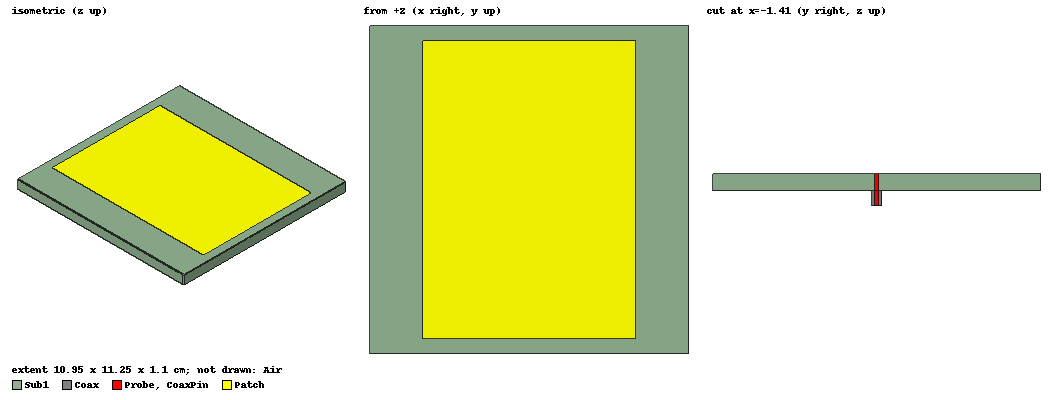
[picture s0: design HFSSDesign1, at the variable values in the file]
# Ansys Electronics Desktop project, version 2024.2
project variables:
  $Patch_Length = 0.07299977meter
  $Patch_Width = 0.10247068meter
  $Substrate_Length = 0.109494912meter
  $Substrate_Width = 0.11246602meter
  $Substrate_Thickness = 0.006meter
  $X_Offset = 0.022395418meter
  $Antenna_Offset = -2.8in
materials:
  vacuum: permittivity=1
  Rogers RT/duroid 5880 (tm): permittivity=2.2 dielectric_loss_tangent=0.0009
  polyethylene: permittivity=2.25 dielectric_loss_tangent=0.001
  pec: conductivity=1e+30
  air: permittivity=1.0006 permeability=1.0000004
  Rogers TMM 4 (tm): permittivity=4.5 dielectric_loss_tangent=0.002
  FR4_epoxy: permittivity=4.4 dielectric_loss_tangent=0.02
  water_sea: permittivity=81 permeability=0.999991 conductivity=4
  aluminum: permeability=1.000021 conductivity=38000000

design HFSSDesign1 (HFSS, HFSS Terminal Network, model units cm)
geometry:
  Sub1 [Rogers TMM 4 (tm)] = box(corner=(-($Substrate_Length/2), -($Substrate_Width/2), 0cm), size=($Substrate_Length, $Substrate_Width, $Substrate_Thickness))
  Inf_GND [Rogers RT/duroid 5880 (tm)] = object_from(Sub1.face(-z))
  Cutout = circle(normal=Z, centre=(-($Patch_Length/2-$X_Offset), 0cm, 0cm), radius=0.16cm)
  Inf_GND.subtract(Cutout)
  Patch = rectangle(corner=(-($Patch_Length/2), -($Patch_Width/2), $Substrate_Thickness), x_size=$Patch_Length, y_size=$Patch_Width)
  Coax [polyethylene] = cylinder(axis=Z, base_centre=(-($Patch_Length/2-$X_Offset), 0cm, 0cm), radius=0.16cm, height=-0.5cm)
  CoaxPin [pec] = cylinder(axis=Z, base_centre=(-($Patch_Length/2-$X_Offset), 0cm, 0cm), radius=0.07cm, height=-0.5cm)
  Probe [pec] = cylinder(axis=Z, base_centre=(-($Patch_Length/2-$X_Offset), 0cm, 0cm), radius=0.07cm, height=$Substrate_Thickness)
  Air [air] = box(corner=(-5in, -8in, $Antenna_Offset-6in), size=(10in, 20in, 12in))
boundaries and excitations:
  PerfE1: Perfect E Objects=Inf_GND
  PerfE_Patch: Perfect E Objects=Patch
  Rad1: Radiation Faces=Air.face(+z, -y, -x, +y, +x)
  CoaxPin_T1: Terminal port=P1 Faces=CoaxPin.face(-z end) TerminalResistance=50ohm
  P1: Wave Port Faces=Coax.face(-z end) WavePortType=Terminal NumModes=1
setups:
  Setup2: HfssDriven Frequency=915MHz MaxDeltaS=0.002 MaximumPasses=20 MinimumPasses=1 MinimumConvergedPasses=1 PercentRefinement=30 BasisOrder=1 PortAccuracy=2 DrivenSolverType="Direct Solver" VariablesForDerivatives($Patch_Length, $Patch_Width, $Substrate_Length, $Substrate_Thickness, $Substrate_Width, $X_Offset) VariableFlagsForDerivatives(1, 1, 1, 1, 1, 1)
    sweep Sweep: 457.5MHz to 1372.5MHz, 401 points; Type=Interpolating InterpTolerance=0.5 InterpMaxSolns=250 PassivityErrorTolerance=0.0001
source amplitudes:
  P1:1: 1 0deg
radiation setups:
  ff_2d: Infinite Sphere Theta=-180deg..180deg step 2deg Phi=-180deg..180deg step 2deg
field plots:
  Volume_Loss_Density1: Volume Loss Density in Sub1 on Setup2 : LastAdaptive at Freq=0.915GHz Phase=0deg
  Surface_Loss_Density1: Surface Loss Density over Patch.face on Setup2 : LastAdaptive at Freq=0.915GHz Phase=0deg
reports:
  Terminal S Parameter Plot 1: dB(St(CoaxPin_T1,CoaxPin_T1)) vs Freq on Setup2 : Sweep; markers MX1 at x=9.15e+08, MY1 at y=-10
  Tune Terminal S Parameter Plot 1: dB(TuneSt(CoaxPin_T1,CoaxPin_T1,All)) vs Freq on Setup2 : Sweep; markers MX1 at x=9.15e+08, MY1 at y=-10
  Terminal Z Parameter Chart 1: Zt(CoaxPin_T1,CoaxPin_T1) on Setup2 : Sweep [Freq=all $Patch_Length=all $Patch_Width=all $X_Offset=all]; markers m1 at 1.2970125GHz, m2 at 0.915GHz, m3 at 0.915GHz
  Gain Plot 1: dB(GainTotal) vs Phi, Theta on Setup2 : LastAdaptive, ff_2d [Freq=0.915GHz]
